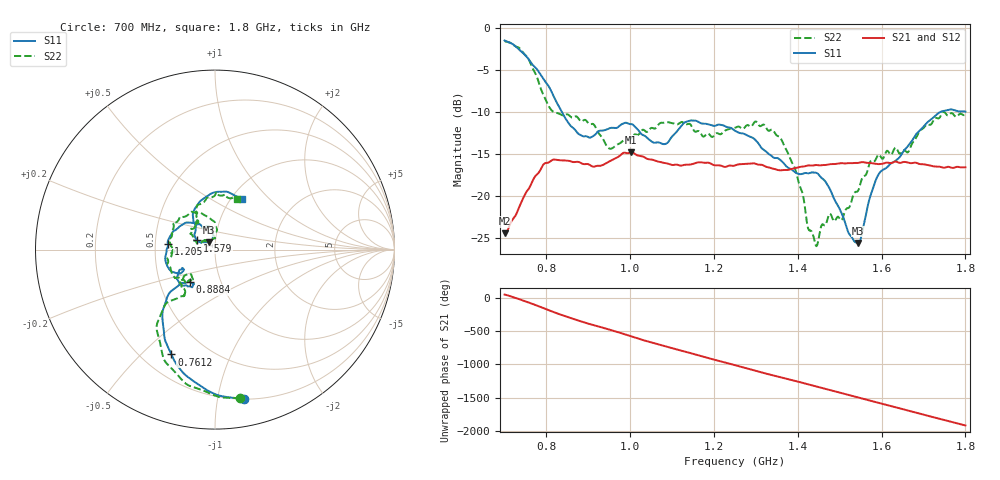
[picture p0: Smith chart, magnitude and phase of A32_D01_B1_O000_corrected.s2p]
! Created with skrf 1.9.0 (http://scikit-rf.org).
# Hz S RI R 50.0
!freq ReS11 ImS11 ReS21 ImS21 ReS12 ImS12 ReS22 ImS22
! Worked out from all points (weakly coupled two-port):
!   1601 points, 700 MHz to 1.8 GHz, reference 50 ohm
!   highest |S21| = -14.78 dB at 1.002 GHz (marker M1); lowest = -24.4 dB at 700.7 MHz (marker M2)
!   lowest |S11| = -25.6 dB at 1.544 GHz (marker M3), VSWR 1.11, Z = 46.7 + j3.84 ohm
!   |S11| at or under -10 dB: 837.3 MHz to 1.739 GHz (901.4 MHz wide, 70 % of centre)
!   |S22| runs from -26.0 to -1.5 dB; largest |S21 - S12| = 0.0036
!   S11 on the Smith chart (normalised r, x): 700 MHz: 0.20, -1.19; 761.2 MHz: 0.32, -0.62; 888.4 MHz: 0.71, -0.27; 1.205 GHz: 0.58, +0.04; 1.579 GHz: 0.82, +0.08; 1.8 GHz: 1.12, +0.70
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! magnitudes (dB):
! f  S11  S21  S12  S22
! 700 MHz  -1.4  -24.4  -24.2  -1.5
! 700.7 MHz  -1.5  -24.4  -24.1  -1.5
! 761.2 MHz  -4.0  -18.8  -18.7  -4.1
! 811.4 MHz  -7.5  -15.8  -15.7  -9.7
! 883.6 MHz  -12.8  -16.1  -16.0  -11.1
! 888.4 MHz  -12.9  -16.2  -16.1  -11.0
! 950.2 MHz  -11.9  -15.8  -15.9  -14.3
! 1.002 GHz  -11.4  -14.8  -14.9  -13.1
! 1.067 GHz  -13.6  -15.9  -15.8  -11.5
! 1.138 GHz  -11.1  -16.2  -16.2  -11.4
! 1.205 GHz  -11.6  -16.3  -16.4  -12.5
! 1.25 GHz  -12.2  -16.3  -16.3  -11.8
! 1.359 GHz  -15.7  -16.9  -16.9  -13.1
! 1.394 GHz  -17.1  -16.7  -16.6  -16.8
! 1.434 GHz  -17.2  -16.3  -16.3  -24.3
! 1.445 GHz  -17.2  -16.3  -16.3  -25.9
! 1.544 GHz  -25.6  -16.0  -16.0  -19.3
! 1.579 GHz  -19.1  -16.1  -16.1  -15.8
! 1.617 GHz  -16.3  -16.0  -16.0  -14.8
! 1.663 GHz  -14.0  -16.0  -16.0  -14.8
! 1.735 GHz  -10.1  -16.5  -16.5  -10.7
! 1.8 GHz  -9.9  -16.6  -16.6  -10.3
